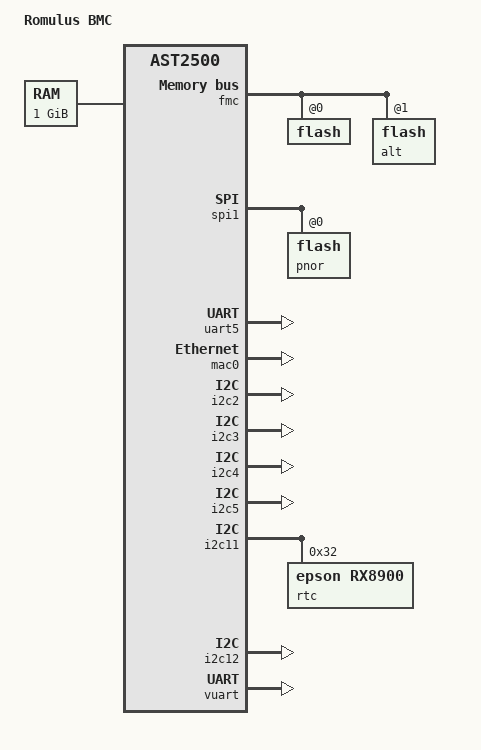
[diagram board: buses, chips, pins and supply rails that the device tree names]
/dts-v1/;

#include "aspeed-g5.dtsi"
#include <dt-bindings/gpio/gpio.h>

/ {
	model = "Romulus BMC";
	compatible = "ibm,romulus-bmc", "aspeed,ast2500";

	aliases {
		serial4 = &uart5;
	};

	chosen {
		stdout-path = &uart5;
		bootargs = "console=ttyS4,115200 earlyprintk";
	};

	memory {
		reg = <0x80000000 0x40000000>;
	};
};

&fmc {
	status = "okay";
	flash@0 {
		status = "okay";
#include "aspeed-bmc-opp-flash-layout.dtsi"
	};
	flash@1 {
		status = "okay";
		label = "alt";
	};
};

&spi1 {
	status = "okay";
	pinctrl-names = "default";
	pinctrl-0 = <&pinctrl_spi1_default>;

	flash@0 {
		status = "okay";
		label = "pnor";
	};
};

&uart5 {
	status = "okay";
};

&mac0 {
	status = "okay";

	use-ncsi;

	pinctrl-names = "default";
	pinctrl-0 = <&pinctrl_rmii1_default>;
};

&i2c0 {
	status = "disabled";
};

&i2c1 {
	status = "enabled";

	/* CPU1 */
};

&i2c2 {
	/* FSI Mux */

	status = "okay";
};

&i2c3 {
	status = "okay";

	/* Clock chip */
};

&i2c4 {
	status = "okay";

	/* Voltage regulators:
	 *  CPU0 VDD/VCS
	 *  CPU0 VDN/VIO
	 *  CPU0 VDDR A
	 *  CPU0 VDDR B
	 */
};

&i2c5 {
	status = "okay";

	/* Voltage regulators:
	 *  CPU1 VDD/VCS
	 *  CPU1 VDN/VIO
	 *  CPU1 VDDR A
	 *  CPU1 VDDR B
	 */
};

&i2c6 {
	/* PCIe slot 1 (x8) */
	status = "enabled";
};

&i2c7 {
	/* PCIe slot 2 (x16) */
	status = "enabled";
};

&i2c8 {
	/* PCIe slot 3 (x16) */
	status = "enabled";
};

&i2c9 {
	/* PCIe slot 4 (x16) */
	status = "enabled";
};

&i2c10 {
	/* PCIe slot 5 (x8) */
	status = "enabled";
};

&i2c11 {
	status = "okay";

	rtc@32 {
		compatible = "epson,rx8900";
		reg = <0x32>;
	};

	/* TPM */
};

&i2c12 {
	status = "okay";

	/* CPLD */
	/* Fan Controller 0xa4/a5 */
	/* Power Supply */
	/* Temp Sensor */
	/* Temp Sensor */

};

&i2c13 {
	status = "disabled";
};

&vuart {
	status = "okay";
};
